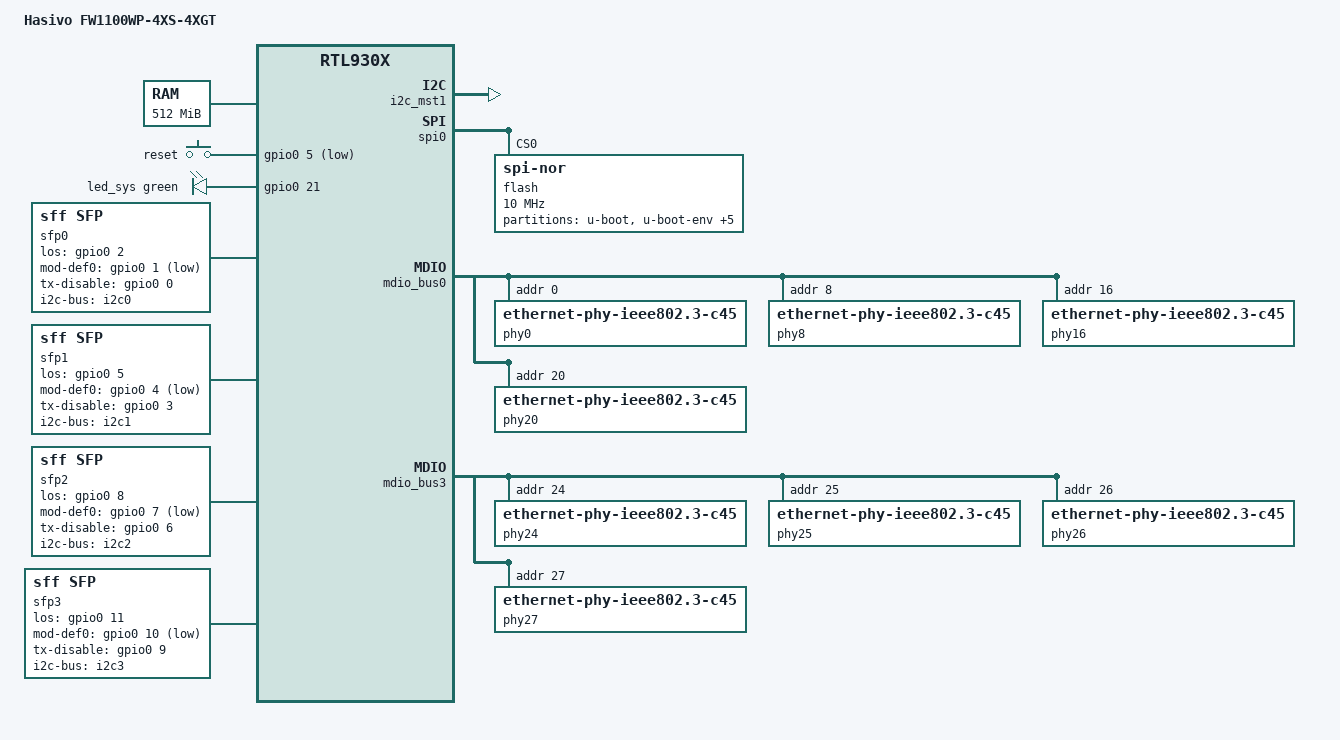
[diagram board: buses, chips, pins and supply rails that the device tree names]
// SPDX-License-Identifier: GPL-2.0-or-later
/dts-v1/;

#include "rtl930x.dtsi"

#include <dt-bindings/input/input.h>
#include <dt-bindings/gpio/gpio.h>
#include <dt-bindings/leds/common.h>

/ {
	compatible = "hasivo,fw1100wp-4xs-4xgt", "realtek,rtl930x-soc";
	model = "Hasivo FW1100WP-4XS-4XGT";

	memory@0 {
		device_type = "memory";
		reg = <0x00000000 0x10000000>, /* 256 MiB lowmem */
		      <0x20000000 0x10000000>; /* 256 MiB highmem */
	};

	aliases {
		led-boot = &led_sys;
		led-failsafe = &led_sys;
		led-running = &led_sys;
		led-upgrade = &led_sys;
	};

	chosen {
		stdout-path = "serial0:38400n8";
	};

	keys {
		compatible = "gpio-keys";

		button-reset {
			label = "reset";
			gpios = <&gpio0 5 GPIO_ACTIVE_LOW>;
			linux,code = <KEY_RESTART>;
		};
	};

	leds {
		compatible = "gpio-leds";

		led_sys: led-0 {
			gpios = <&gpio0 21 GPIO_ACTIVE_HIGH>;
			color = <LED_COLOR_ID_GREEN>;
			function = LED_FUNCTION_STATUS;
		};
	};

	led_set {
		compatible = "realtek,rtl9300-leds";

		led_set0 = <
		(	// RED 10G
			RTL93XX_LED_SET_10G |
			RTL93XX_LED_SET_LINK |
			RTL93XX_LED_SET_ACT
		)
		(	// GREEN Red indicates 10 Gbit/s, while green indicates 2.5 Gbit/s (and possibly all lower speeds).
			RTL93XX_LED_SET_10M |
			RTL93XX_LED_SET_100M |
			RTL93XX_LED_SET_1G |
			RTL93XX_LED_SET_2P5G |
			RTL93XX_LED_SET_LINK |
			RTL93XX_LED_SET_ACT
		)
		>;
	};

	sfp0: sfp-p1 {
		compatible = "sff,sfp";
		i2c-bus = <&i2c0>;
		los-gpio = <&gpio0 2 GPIO_ACTIVE_HIGH>;
		mod-def0-gpio = <&gpio0 1 GPIO_ACTIVE_LOW>;
		tx-disable-gpio = <&gpio0 0 GPIO_ACTIVE_HIGH>;
		maximum-power-milliwatt = <2000>;
		#thermal-sensor-cells = <0>;
	};

	sfp1: sfp-p2 {
		compatible = "sff,sfp";
		i2c-bus = <&i2c1>;
		los-gpio = <&gpio0 5 GPIO_ACTIVE_HIGH>;
		mod-def0-gpio = <&gpio0 4 GPIO_ACTIVE_LOW>;
		tx-disable-gpio = <&gpio0 3 GPIO_ACTIVE_HIGH>;
		maximum-power-milliwatt = <2000>;
		#thermal-sensor-cells = <0>;
	};

	sfp2: sfp-p3 {
		compatible = "sff,sfp";
		i2c-bus = <&i2c2>;
		los-gpio = <&gpio0 8 GPIO_ACTIVE_HIGH>;
		mod-def0-gpio = <&gpio0 7 GPIO_ACTIVE_LOW>;
		tx-disable-gpio = <&gpio0 6 GPIO_ACTIVE_HIGH>;
		maximum-power-milliwatt = <2000>;
		#thermal-sensor-cells = <0>;
	};

	sfp3: sfp-p4 {
		compatible = "sff,sfp";
		i2c-bus = <&i2c3>;
		los-gpio = <&gpio0 11 GPIO_ACTIVE_HIGH>;
		mod-def0-gpio = <&gpio0 10 GPIO_ACTIVE_LOW>;
		tx-disable-gpio = <&gpio0 9 GPIO_ACTIVE_HIGH>;
		maximum-power-milliwatt = <2000>;
		#thermal-sensor-cells = <0>;
	};
};

&i2c_mst1 {
	status = "okay";

	/* SDA0-7 correspond to GPIO9-16 */
	i2c0: i2c@0 {
		reg = <0>;
	};
	i2c1: i2c@1 {
		reg = <1>;
	};
	i2c2: i2c@2 {
		reg = <2>;
	};
	i2c3: i2c@3 {
		reg = <3>;
	};
};

&spi0 {
	status = "okay";

	flash@0 {
		compatible = "jedec,spi-nor";
		reg = <0>;
		spi-max-frequency = <10000000>;

		partitions {
			compatible = "fixed-partitions";
			#address-cells = <1>;
			#size-cells = <1>;

			/* stock is LOADER */
			partition@0 {
				label = "u-boot";
				reg = <0x0000000 0x00e0000>;
				read-only;
			};

			/* stock is BDINFO */
			partition@e0000 {
				label = "u-boot-env";
				reg = <0x00e0000 0x0010000>;
			};

			/* stock is SYSINFO */
			partition@f0000 {
				label = "u-boot-env2";
				reg = <0x00f0000 0x0010000>;
				read-only;
			};

			/* stock is JFFS2_CFG */
			partition@100000 {
				label = "jffs";
				reg = <0x0100000 0x0100000>;
			};

			/* stock is JFFS2_LOG */
			partition@200000 {
				label = "jffs2";
				reg = <0x0200000 0x0100000>;
			};

			/* stock is RUNTIME */
			partition@300000 {
				compatible = "openwrt,uimage", "denx,uimage";
				label = "firmware";
				reg = <0x0300000 0x0c00000>;
			};

			/* stock is OEMINFO */
			partition@f00000 {
				label = "oeminfo";
				reg = <0x0f00000 0x0100000>;
				read-only;
			};
		};
	};
};

&mdio_bus0 {
	phy0: ethernet-phy@0 {
		compatible = "ethernet-phy-ieee802.3-c45";
		reg = <0>;
	};

	phy8: ethernet-phy@8 {
		compatible = "ethernet-phy-ieee802.3-c45";
		realtek,smi-address = <1>;
		reg = <8>;
	};

	phy16: ethernet-phy@16 {
		compatible = "ethernet-phy-ieee802.3-c45";
		realtek,smi-address = <2>;
		reg = <16>;
	};

	phy20: ethernet-phy@20 {
		compatible = "ethernet-phy-ieee802.3-c45";
		realtek,smi-address = <3>;
		reg = <20>;
	};
};

&mdio_bus3 {
	phy24: ethernet-phy@24 {
		compatible = "ethernet-phy-ieee802.3-c45";
		realtek,smi-address = <16>;
		reg = <24>;
	};

	phy25: ethernet-phy@25 {
		compatible = "ethernet-phy-ieee802.3-c45";
		realtek,smi-address = <17>;
		reg = <25>;
	};

	phy26: ethernet-phy@26 {
		compatible = "ethernet-phy-ieee802.3-c45";
		realtek,smi-address = <18>;
		reg = <26>;
	};

	phy27: ethernet-phy@27 {
		compatible = "ethernet-phy-ieee802.3-c45";
		realtek,smi-address = <19>;
		reg = <27>;
	};
};

&switch0 {
	ports {
		#address-cells = <1>;
		#size-cells = <0>;

		port@0 {
			reg = <0>;
			label = "lan1";
			pcs-handle = <&serdes2>;
			phy-handle = <&phy0>;
			phy-mode = "1000base-x";
			sfp = <&sfp0>;
			managed = "in-band-status";
			led-set = <0>;
		};

		port@8 {
			reg = <8>;
			label = "lan2";
			pcs-handle = <&serdes3>;
			phy-handle = <&phy8>;
			phy-mode = "1000base-x";
			sfp = <&sfp1>;
			managed = "in-band-status";
			led-set = <0>;
		};

		port@16 {
			reg = <16>;
			label = "lan3";
			pcs-handle = <&serdes4>;
			phy-handle = <&phy16>;
			phy-mode = "1000base-x";
			sfp = <&sfp2>;
			managed = "in-band-status";
			led-set = <0>;
		};

		port@20 {
			reg = <20>;
			label = "lan4";
			pcs-handle = <&serdes5>;
			phy-handle = <&phy20>;
			phy-mode = "1000base-x";
			sfp = <&sfp3>;
			managed = "in-band-status";
			led-set = <0>;
		};



		port@24 {
			reg = <24>;
			label = "lan5";
			pcs-handle = <&serdes6>;
			phy-handle = <&phy24>;
			phy-mode = "usxgmii";
			led-set = <0>;
		};

		port@25 {
			reg = <25>;
			label = "lan6";
			pcs-handle = <&serdes7>;
			phy-handle = <&phy25>;
			phy-mode = "usxgmii";
			led-set = <0>;
		};

		port@26 {
			reg = <26>;
			label = "lan7";
			pcs-handle = <&serdes8>;
			phy-handle = <&phy26>;
			phy-mode = "usxgmii";
			led-set = <0>;
		};

		port@27 {
			reg = <27>;
			label = "lan8";
			pcs-handle = <&serdes9>;
			phy-handle = <&phy27>;
			phy-mode = "usxgmii";
			led-set = <0>;
		};

		/* Internal SoC */
		port@28 {
			ethernet = <&ethernet0>;
			reg = <28>;
			phy-mode = "internal";

			fixed-link {
				speed = <10000>;
				full-duplex;
			};
		};
	};
};

&thermal_zones {
	sfp-thermal {
		polling-delay-passive = <10000>;
		polling-delay = <10000>;
		thermal-sensors = <&sfp0>, <&sfp1>, <&sfp2>, <&sfp3>;
		trips {
			sfp-crit {
				temperature = <110000>;
				hysteresis = <1000>;
				type = "critical";
			};
		};
	};
};
